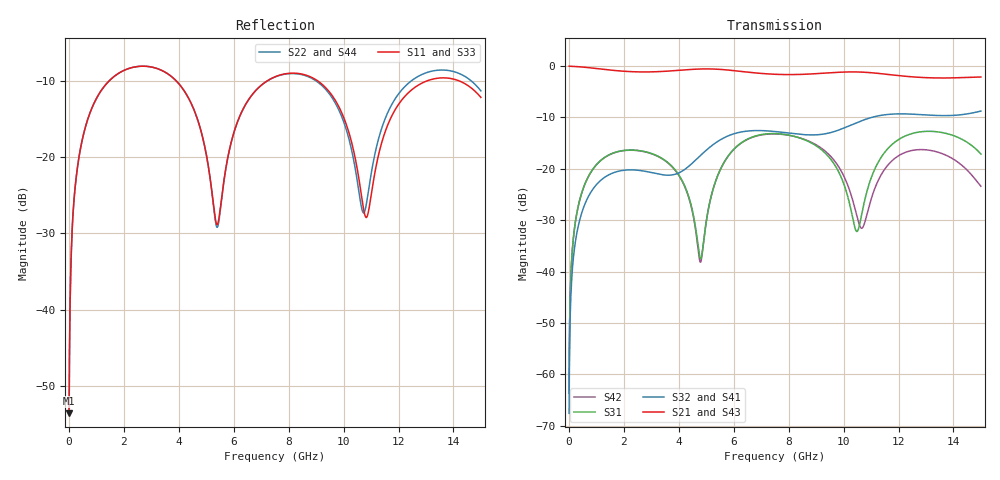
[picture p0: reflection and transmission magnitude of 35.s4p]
! Created with skrf 1.8.0 (http://scikit-rf.org).
# GHz S RI R 50.0
!freq ReS11 ImS11 ReS12 ImS12 ReS13 ImS13
! ReS14 ImS14
! ReS21 ImS21 ReS22 ImS22 ReS23 ImS23
! ReS24 ImS24
! ReS31 ImS31 ReS32 ImS32 ReS33 ImS33
! ReS34 ImS34
! ReS41 ImS41 ReS42 ImS42 ReS43 ImS43
! ReS44 ImS44
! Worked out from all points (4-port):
!   2499 points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, 5 MHz to 15 GHz, reference 50 ohm
!   strongest paths, dB at 5 MHz, 3.476 GHz, 7.19 GHz, 11.1 GHz, 15 GHz:
!     S21: 0.0, -1.0, -1.5, -1.3, -2.1
!     S43: 0.0, -1.0, -1.5, -1.3, -2.1
!     S32: -67.6, -21.2, -12.6, -9.9, -8.7
!     S41: -67.6, -21.2, -12.7, -9.9, -8.8
!     S31: -63.6, -18.3, -13.2, -20.5, -17.1
!     S42: -63.6, -18.3, -13.3, -24.4, -23.4
!   lowest |S11| = -53.6 dB at 5 MHz (marker M1), VSWR 1.00, Z = 50.2 + j0.127 ohm
!   |S11| at or under -10 dB: start of sweep to 1.463 GHz; 3.905 GHz to 7.219 GHz (3.314 GHz wide, 59.6 % of centre); 9.056 GHz to 13.04 GHz (3.982 GHz wide, 36 % of centre) (the widest 3 of 4)
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0.005  0.00166 0.00127  0.9983 -0.00324  8.35e-05 0.000654  -8.11e-05 -0.000411
       0.9983 -0.00324  0.00166 0.00127  -8.11e-05 -0.000411  8.34e-05 0.000654
       8.35e-05 0.000654  -8.11e-05 -0.000411  0.00166 0.00127  0.9983 -0.00324
       -8.11e-05 -0.000411  8.34e-05 0.000654  0.9983 -0.00324  0.00166 0.00127
0.3126303  0.0246 0.0831  0.9664 -0.2014  0.0113 0.0388  -0.00936 -0.0241
           0.9664 -0.2014  0.0246 0.0831  -0.00937 -0.0241  0.0112 0.0388
           0.0113 0.0388  -0.00937 -0.0241  0.0246 0.0831  0.9664 -0.2014
           -0.00936 -0.0241  0.0112 0.0388  0.9664 -0.2014  0.0247 0.0831
1.569404  0.2786 0.1761  0.5316 -0.7401  0.1292 0.0571  -0.0904 -0.00356
          0.5316 -0.7401  0.2789 0.1758  -0.0906 -0.0034  0.1282 0.0585
          0.1292 0.0571  -0.0906 -0.0034  0.2785 0.1762  0.5316 -0.7402
          -0.0904 -0.00356  0.1282 0.0585  0.5316 -0.7402  0.279 0.1758
5.233431  0.0371 -0.0389  -0.9248 -0.1492  -0.00813 0.0609  -0.0261 0.169
          -0.9248 -0.1492  0.0357 -0.0393  -0.0239 0.1693  -0.00856 0.0612
          -0.00813 0.0609  -0.0239 0.1693  0.0366 -0.0393  -0.9248 -0.1491
          -0.0261 0.169  -0.00856 0.0612  -0.9248 -0.1491  0.0362 -0.0393
8.409754  0.3484 -0.0529  0.0159 0.8296  0.182 -0.0819  0.1986 -0.08
          0.0159 0.8296  0.3455 -0.0521  0.1991 -0.0859  0.1794 -0.0889
          0.182 -0.0819  0.1991 -0.0859  0.3472 -0.0486  0.0162 0.8296
          0.1986 -0.08  0.1794 -0.0889  0.0162 0.8296  0.3464 -0.0567
11.12338  0.053 0.0547  0.8561 -0.0295  0.0791 0.0577  -0.0217 -0.3212
          0.8561 -0.0295  0.0635 0.0791  -0.0328 -0.3202  0.00859 0.0625
          0.0791 0.0577  -0.0328 -0.3202  0.0577 0.0554  0.8559 -0.0306
          -0.0217 -0.3212  0.00859 0.0625  0.8559 -0.0306  0.0583 0.0814
15  0.2246 -0.1018  -0.43 -0.6547  -0.034 -0.1352  -0.3005 0.2069
    -0.43 -0.6547  0.2236 -0.1545  -0.2902 0.222  -0.025 -0.063
    -0.034 -0.1352  -0.2902 0.222  0.23 -0.0956  -0.4303 -0.6537
    -0.3005 0.2069  -0.025 -0.063  -0.4303 -0.6537  0.2209 -0.1608
